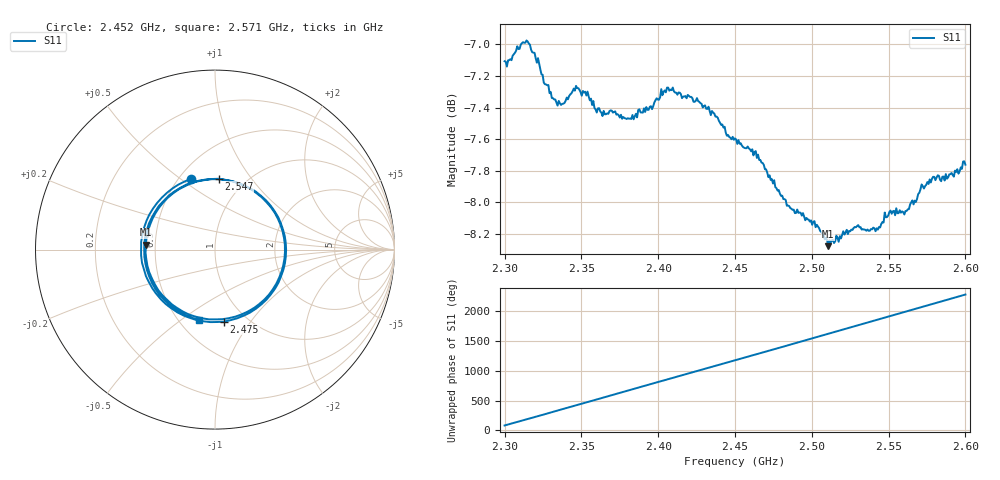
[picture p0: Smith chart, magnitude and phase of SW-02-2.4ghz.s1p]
! NanoVNA-App
! Date: 2026-05-22 18:57:39
! Start: 2.3GHz Stop: 2.6GHz Points: 401
! S-Parameter data: F S11
# Hz S RI R 50
!  Frequency  S11_Real  S11_Imag
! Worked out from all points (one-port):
!   401 points, 2.3 GHz to 2.6 GHz, reference 50 ohm
!   lowest |S11| = -8.3 dB at 2.511 GHz (marker M1), VSWR 2.25, Z = 22.2 + j1.44 ohm
!   |S11| at or under -10 dB: nowhere
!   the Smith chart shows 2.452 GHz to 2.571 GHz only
!   S11 on the Smith chart (normalised r, x): 2.452 GHz: 0.58, +0.55; 2.475 GHz: 0.79, -0.76; 2.547 GHz: 0.76, +0.71; 2.571 GHz: 0.63, -0.59
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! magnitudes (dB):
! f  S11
! 2.3 GHz  -7.1
! 2.315 GHz  -7.0
! 2.331 GHz  -7.3
! 2.337 GHz  -7.4
! 2.347 GHz  -7.3
! 2.353 GHz  -7.3
! 2.36 GHz  -7.4
! 2.375 GHz  -7.5
! 2.382 GHz  -7.5
! 2.394 GHz  -7.4
! 2.405 GHz  -7.3
! 2.413 GHz  -7.3
! 2.431 GHz  -7.4
! 2.45 GHz  -7.6
! 2.452 GHz  -7.6
! 2.464 GHz  -7.7
! 2.475 GHz  -7.9
! 2.487 GHz  -8.0
! 2.502 GHz  -8.2
! 2.511 GHz  -8.3
! 2.525 GHz  -8.2
! 2.53 GHz  -8.2
! 2.543 GHz  -8.2
! 2.547 GHz  -8.1
! 2.562 GHz  -8.0
! 2.571 GHz  -7.9
! 2.578 GHz  -7.9
! 2.6 GHz  -7.8
